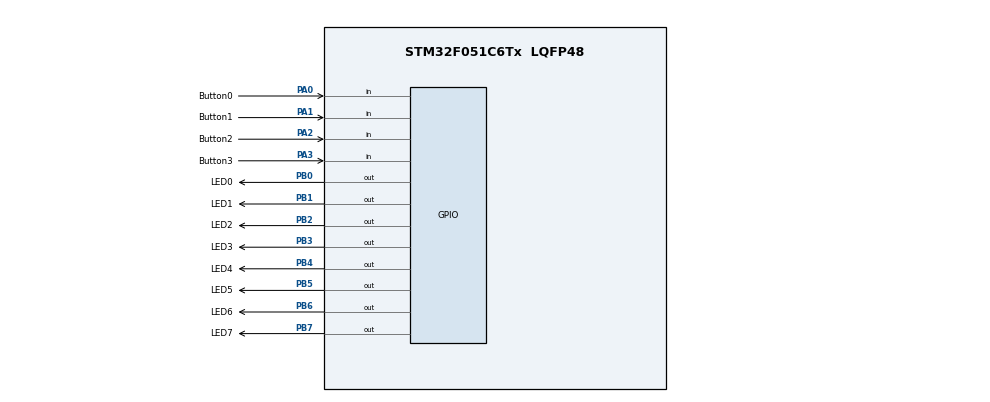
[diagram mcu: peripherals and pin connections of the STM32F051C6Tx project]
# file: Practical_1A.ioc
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Mcu.Family=STM32F0
Mcu.Name=STM32F051C6Tx
Mcu.Package=LQFP48
PA0.GPIO_Label=Button0
PA0.GPIO_Mode=GPIO_MODE_INPUT
PA0.GPIO_PuPd=GPIO_PULLUP
PA0.Signal=GPIO_Input
PA1.GPIO_Label=Button1
PA1.GPIO_PuPd=GPIO_PULLUP
PA1.Signal=GPIO_Input
PA13.Mode=Serial_Wire
PA13.Signal=SYS_SWDIO
PA14.Mode=Serial_Wire
PA14.Signal=SYS_SWCLK
PA2.GPIO_Label=Button2
PA2.GPIO_PuPd=GPIO_PULLUP
PA2.Signal=GPIO_Input
PA3.GPIO_Label=Button3
PA3.GPIO_PuPd=GPIO_PULLUP
PA3.Signal=GPIO_Input
PB0.GPIO_Label=LED0
PB0.Signal=GPIO_Output
PB1.GPIO_Label=LED1
PB1.Signal=GPIO_Output
PB2.GPIO_Label=LED2
PB2.Signal=GPIO_Output
PB3.GPIO_Label=LED3
PB3.Signal=GPIO_Output
PB4.GPIO_Label=LED4
PB4.Signal=GPIO_Output
PB5.GPIO_Label=LED5
PB5.Signal=GPIO_Output
PB6.GPIO_Label=LED6
PB6.Signal=GPIO_Output
PB7.GPIO_Label=LED7
PB7.Signal=GPIO_Output
PF0-OSC_IN.Mode=HSE-External-Oscillator
PF0-OSC_IN.Signal=RCC_OSC_IN
PF1-OSC_OUT.Mode=HSE-External-Oscillator
PF1-OSC_OUT.Signal=RCC_OSC_OUT
ProjectManager.HeapSize=0x200
ProjectManager.StackSize=0x400
ProjectManager.TargetToolchain=STM32CubeIDE
TIM16.AutoReloadPreload=TIM_AUTORELOAD_PRELOAD_ENABLE
TIM16.Period=1000-1
TIM16.Prescaler=8000-1
VP_TIM16_VS_ClockSourceINT.Mode=Enable_Timer
board=custom

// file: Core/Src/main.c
/* USER CODE BEGIN Header */
/**
  @file           : main.c
  @brief          : Multi-mode LED control with timer interrupts skeleton
  */
/* USER CODE END Header */

#include "main.h"
#include "stm32f0xx.h"
#include <stdint.h>
#include <stdlib.h>      // for rand()
#include "lcd_stm32f0.h"

TIM_HandleTypeDef htim16;

/* USER CODE BEGIN PV */
// LED arrays
GPIO_TypeDef* led_ports[8] = {GPIOB, GPIOB, GPIOB, GPIOB, GPIOB, GPIOB, GPIOB, GPIOB};
uint16_t led_pins[8] = {GPIO_PIN_0, GPIO_PIN_1, GPIO_PIN_2, GPIO_PIN_3, GPIO_PIN_4, GPIO_PIN_5, GPIO_PIN_6, GPIO_PIN_7};

// Timer event flag (set by ISR)
volatile uint8_t timer_event = 0;

// Mode enumeration
typedef enum {
    MODE_1 = 0,
    MODE_2,
    MODE_3,
    MODE_OFF
} LED_Mode;
volatile LED_Mode current_mode = MODE_OFF;

// Mode 1 & 2 shared variables
volatile uint8_t current_led = 0;
volatile int8_t direction = 1;

// Speed toggle variables
#define DEBOUNCE_MS 50
uint32_t last_button_time[4] = {0, 0, 0, 0};
uint8_t speed_state = 0;        // 0 = slow (1s), 1 = fast (0.5s)

// start as pin sets to indicate button not pressed
uint8_t last_sw0 = GPIO_PIN_SET;
uint8_t last_sw1 = GPIO_PIN_SET;
uint8_t last_sw2 = GPIO_PIN_SET;
uint8_t last_sw3 = GPIO_PIN_SET;

// Mode 3 state machine
typedef enum {
    SPARKLE_IDLE = 0,
    SPARKLE_DISPLAY,
    SPARKLE_TURN_OFF
} SparkleState;

volatile SparkleState sparkle_state = SPARKLE_IDLE;
volatile uint8_t sparkle_pattern = 0;
volatile uint32_t sparkle_display_until = 0;
volatile uint32_t sparkle_next_off_time = 0;
volatile uint8_t sparkle_off_index = 0;
volatile uint8_t sparkle_leds_on[8];      // Track which LEDs are currently on
volatile uint8_t sparkle_num_leds_on = 0;

// Current period reference
uint32_t current_period_ms = 1000;
/* USER CODE END PV */

void SystemClock_Config(void);
static void MX_GPIO_Init(void);
static void MX_TIM16_Init(void);
void TIM16_IRQHandler(void);

/* USER CODE BEGIN PFP */
void clear_all_leds(void);
void turn_on_all_leds(void); // added for ease of implementation in Mode 2
void turn_on_led(uint8_t index);
void turn_off_led(uint8_t index);
void change_timer_period(uint32_t new_period_ms);
void handle_buttons(void);
void set_mode(LED_Mode new_mode);
void mode1_update(void);
void mode2_update(void);
void mode3_update(void);
/* USER CODE END PFP */

/* USER CODE BEGIN 0 */
void clear_all_leds(void){
    /* TODO: Iterate through the LED arrays and set all pins to GPIO_PIN_RESET */
	for (uint8_t i = 0; i < 8; i++){
		HAL_GPIO_WritePin(led_ports[i], led_pins[i], GPIO_PIN_RESET);
	}
}

void turn_on_all_leds(void){
	for (uint8_t i = 0; i < 8; i++){
		HAL_GPIO_WritePin(led_ports[i], led_pins[i], GPIO_PIN_SET);
	}
}

void turn_on_led(uint8_t index){
    /* TODO: Set the specified LED pin to GPIO_PIN_SET */
	HAL_GPIO_WritePin(led_ports[index], led_pins[index], GPIO_PIN_SET);
}

void turn_off_led(uint8_t index){
    /* TODO: Set the specified LED pin to GPIO_PIN_RESET */
	HAL_GPIO_WritePin(led_ports[index], led_pins[index], GPIO_PIN_RESET);
}

void change_timer_period(uint32_t new_period_ms){
    /* TODO: Calculate the new ARR value based on the requested millisecond period */
	float freq = 1 / ((float)new_period_ms / 1000); // convert ms -> s, /1000
	float new_arr_float  = (1000 / freq) - 1; // HCLK/PSC = 1000

	uint32_t new_arr = (uint32_t)new_arr_float;

    /* TODO: Update the TIM16 ARR register directly */
	TIM16 -> ARR = new_arr;

    /* TODO: Reset the TIM16 CNT register to 0 */
	TIM16 -> CNT = 0;

    current_period_ms = new_period_ms;
}

void handle_buttons(void)
{
    uint32_t now = HAL_GetTick();

    /* TODO: Read the state of all four buttons (PA0 to PA3) */
    uint8_t current_sw0 = HAL_GPIO_ReadPin(GPIOA, GPIO_PIN_0);
    uint8_t current_sw1 = HAL_GPIO_ReadPin(GPIOA, GPIO_PIN_1);
    uint8_t current_sw2 = HAL_GPIO_ReadPin(GPIOA, GPIO_PIN_2);
    uint8_t current_sw3 = HAL_GPIO_ReadPin(GPIOA, GPIO_PIN_3);

    uint32_t elapsedTime_sw0 = now - last_button_time[0];
    uint32_t elapsedTime_sw1 = now - last_button_time[1];
    uint32_t elapsedTime_sw2 = now - last_button_time[2];
    uint32_t elapsedTime_sw3 = now - last_button_time[3];

    /* TODO: Implement debounce logic for PA0. Toggle the timer speed between 500ms and 1000ms. */
    if (elapsedTime_sw0 >= DEBOUNCE_MS){ // fix to allow edge detection
		if ((last_sw0 == GPIO_PIN_SET) && (current_sw0 == GPIO_PIN_RESET)){
			last_button_time[0] = HAL_GetTick();
			if(current_period_ms == 1000){
				change_timer_period(500);
				current_period_ms = 500;
			} else {
				change_timer_period(1000);
				current_period_ms = 1000;
			}
		}
		last_sw0 = current_sw0;
    }
    /* TODO: Implement debounce logic for PA1. Call set_mode(MODE_1). */
    if (elapsedTime_sw1 >= DEBOUNCE_MS){
    	if((last_sw1 == GPIO_PIN_SET) && (current_sw1 == GPIO_PIN_RESET)){
    		last_button_time[1] = HAL_GetTick();

    		set_mode(MODE_1);
    	}
    	last_sw1 = current_sw1;
    }

    /* TODO: Implement debounce logic for PA2. Call set_mode(MODE_2). */
    if (elapsedTime_sw2 >= DEBOUNCE_MS){
    	if ((last_sw2 == GPIO_PIN_RESET) && (current_sw2 == GPIO_PIN_SET)){
    		last_button_time[2] = HAL_GetTick();

    		set_mode(MODE_2);
    	}
    	last_sw2 = current_sw2;
    }

    /* TODO: Implement debounce logic for PA3. Call set_mode(MODE_3). */
    if (elapsedTime_sw3 >= DEBOUNCE_MS ){
    	if((last_sw3 == GPIO_PIN_SET) && (current_sw3 == GPIO_PIN_RESET)){
    		last_button_time[3] = HAL_GetTick();

    		set_mode(MODE_3);
    	}
    	last_button_time[3] = current_sw3;
    }
}

void set_mode(LED_Mode new_mode){
    current_mode = new_mode;

    /* TODO: Clear all LEDs to ensure a clean slate */
    clear_all_leds();

    /* TODO: Reset mode-specific tracking variables (like current_led, direction, or sparkle_state) */
    current_led = 0;
    direction = 1;
    sparkle_state = SPARKLE_IDLE;

}

void mode1_update(void){
    /* TODO: Implement the standard running light sequence (Task 3 logic) */
	clear_all_leds();

	turn_on_led(current_led);
	current_led += direction;

	if (current_led == 7) {direction = -1;}
	else if (current_led == 0) {direction = 1;}
}

void mode2_update(void){
    /* TODO: Implement the inverse running light sequence. All LEDs on except one. */
	turn_on_all_leds();

	turn_off_led(current_led);
	current_led += direction;

	if (current_led == 7) {direction = -1;}
	else if (current_led == 0) {direction = 1;}
}

void mode3_update(void){
    uint32_t now = HAL_GetTick();

    switch (sparkle_state) {
        case SPARKLE_IDLE:
            /* TODO: Generate a random 8-bit pattern using rand() */
            /* TODO: Turn on the LEDs according to the generated pattern */
            /* TODO: Store the indices of the active LEDs in the sparkle_leds_on array */
            /* TODO: Generate a random display duration between 100ms and 1500ms */
            /* TODO: Transition to SPARKLE_DISPLAY state */
        	int rand_delay = rand() % 1500 + 100
        	for (uint8_t i = 0; i < 8; i++) {
        		int random_bit = rand() % 2;

        		if (random_bit == 1){
        			HAL_GPIO_WritePin(led_ports[i],led_pins[i], GPIO_PIN_SET);

        			sparkle_leds_on[i] += i;
        		}

        	}

            break;

        case SPARKLE_DISPLAY:
            /* TODO: Wait for the random display duration to elapse using HAL_GetTick() */
            /* TODO: Once elapsed, transition to SPARKLE_TURN_OFF state */

            break;

        case SPARKLE_TURN_OFF:
            /* TODO: Wait for the random turn-off delay (100ms to 150ms) to elapse */
            /* TODO: Turn off one LED from the sparkle_leds_on array */
            /* TODO: Generate a new random turn-off delay for the next LED */
            /* TODO: If all LEDs are turned off, transition back to SPARKLE_IDLE state */
            break;

        default:
            sparkle_state = SPARKLE_IDLE;
            break;
    }
}
/* USER CODE END 0 */

int main(void)
{
    HAL_Init();
    SystemClock_Config();
    MX_GPIO_Init();
    MX_TIM16_Init();
    init_LCD();

    /* USER CODE BEGIN 2 */
    // Seed random number generator
    srand(HAL_GetTick());

    clear_all_leds();
    change_timer_period(1000);
    HAL_TIM_Base_Start_IT(&htim16);
    lcd_putstring("Task 4");
    lcd_command(LINE_TWO);
    lcd_putstring("Multi-mode LED");
    /* USER CODE END 2 */

    while (1)
    {
        /* USER CODE BEGIN WHILE */
        // Check for debounced button presses
        handle_buttons();

        // Handle scheduled timer events for Mode 1 and Mode 2
        if (timer_event) {
            timer_event = 0;

            switch (current_mode) {
                case MODE_1:
                    mode1_update();
                    break;
                case MODE_2:
                    mode2_update();
                    break;
                case MODE_3:
                    // Mode 3 is non-blocking and driven continuously by HAL_GetTick
                    break;
                case MODE_OFF:
                default:
                    clear_all_leds();
                    break;
            }
        }

        // Mode 3 requires continuous polling to operate its state machine delays accurately
        if (current_mode == MODE_3) {
            mode3_update();
        }
        /* USER CODE END WHILE */
    }
}

void SystemClock_Config(void)
{
    LL_FLASH_SetLatency(LL_FLASH_LATENCY_0);
    while(LL_FLASH_GetLatency() != LL_FLASH_LATENCY_0) {}

    LL_RCC_HSI_Enable();
    while(LL_RCC_HSI_IsReady() != 1) {}

    LL_RCC_HSI_SetCalibTrimming(16);
    LL_RCC_SetAHBPrescaler(LL_RCC_SYSCLK_DIV_1);
    LL_RCC_SetAPB1Prescaler(LL_RCC_APB1_DIV_1);
    LL_RCC_SetSysClkSource(LL_RCC_SYS_CLKSOURCE_HSI);
    while(LL_RCC_GetSysClkSource() != LL_RCC_SYS_CLKSOURCE_STATUS_HSI) {}

    LL_SetSystemCoreClock(8000000);

    if (HAL_InitTick(TICK_INT_PRIORITY) != HAL_OK) {
        Error_Handler();
    }
}

/**
  @brief TIM16 Initialization
*/
static void MX_TIM16_Init(void)
{
    htim16.Instance = TIM16;
    htim16.Init.Prescaler = 7999;      // 8000 - 1
    htim16.Init.CounterMode = TIM_COUNTERMODE_UP;
    htim16.Init.Period = 999;          // Will be changed dynamically
    htim16.Init.ClockDivision = TIM_CLOCKDIVISION_DIV1;
    htim16.Init.RepetitionCounter = 0;
    htim16.Init.AutoReloadPreload = TIM_AUTORELOAD_PRELOAD_ENABLE;

    if (HAL_TIM_Base_Init(&htim16) != HAL_OK) {
        Error_Handler();
    }

    NVIC_EnableIRQ(TIM16_IRQn);
}

/**
  @brief GPIO Initialization
*/
static void MX_GPIO_Init(void)
{
    __HAL_RCC_GPIOA_CLK_ENABLE();
    __HAL_RCC_GPIOB_CLK_ENABLE();

    GPIO_InitTypeDef GPIO_InitStruct = {0};

    // LEDs PB0..PB7 as outputs
    GPIO_InitStruct.Mode = GPIO_MODE_OUTPUT_PP;
    GPIO_InitStruct.Pull = GPIO_NOPULL;
    GPIO_InitStruct.Speed = GPIO_SPEED_FREQ_LOW;

    for (uint8_t i = 0; i < 8; i++) {
        GPIO_InitStruct.Pin = led_pins[i];
        HAL_GPIO_Init(led_ports[i], &GPIO_InitStruct);
    }

    // Buttons PA0..PA3 as inputs with pull-up (active low)
    GPIO_InitStruct.Pin = GPIO_PIN_0 | GPIO_PIN_1 | GPIO_PIN_2 | GPIO_PIN_3;
    GPIO_InitStruct.Mode = GPIO_MODE_INPUT;
    GPIO_InitStruct.Pull = GPIO_PULLUP;
    HAL_GPIO_Init(GPIOA, &GPIO_InitStruct);
}

/**
  @brief TIM16 interrupt handler - sets flag only
*/
void TIM16_IRQHandler(void)
{
    HAL_TIM_IRQHandler(&htim16);
    timer_event = 1;
}

/**
  @brief Error handler
*/
void Error_Handler(void)
{
    __disable_irq();
    while (1) {}
}
